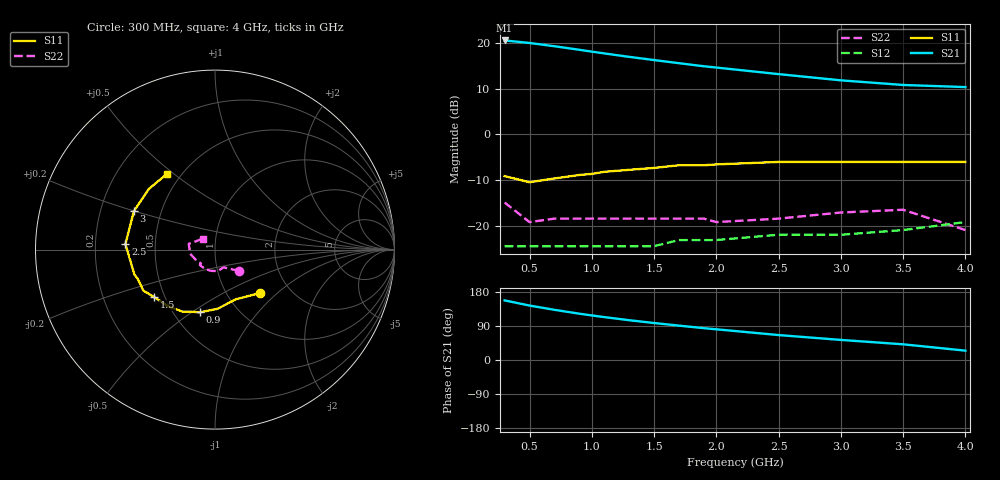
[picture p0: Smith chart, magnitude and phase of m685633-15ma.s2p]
!MGA-68563
!s-parameters at Vds=3V, Ids=15mA. Last updated 23/09/06 SW.
# GHZ S MA R 50
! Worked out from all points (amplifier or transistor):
!   15 points, 300 MHz to 4 GHz, reference 50 ohm
!   highest |S21| = 20.5 dB at 300 MHz (marker M1)
!   |S21| within 3 dB of that: start of sweep to 1.145 GHz
!   unconditionally stable (mu >= 1): start of sweep to end of sweep
!   at 700 MHz: K = 1.05, MAG = 20.5 dB, |S12| = -24.4 dB
!   at 1.5 GHz: K = 1.17, MAG = 17.8 dB, |S12| = -24.4 dB
!   at 4 GHz: K = 1.23, MAG = 11.9 dB, |S12| = -19.2 dB
!   lowest NFmin = 0.55 dB at 1 GHz
!   S11 on the Smith chart (normalised r, x): 300 MHz: 1.43, -0.78; 900 MHz: 0.67, -0.54; 1.5 GHz: 0.44, -0.28; 2.5 GHz: 0.33, +0.03; 3 GHz: 0.35, +0.20; 4 GHz: 0.42, +0.48
0.3  0.35 -43.6  10.64 157.3  0.06 5.0  0.18 -41.3
0.5  0.3 -67.4  9.99 143.7  0.06 3.9  0.11 -64.3
0.7  0.33 -87.4  9.2 132.4  0.06 4.4  0.12 -82.8
0.9  0.36 -103.8  8.41 122.2  0.06 5.3  0.12 -96.8
1  0.37 -110.9  8.03 117.6  0.06 5.6  0.12 -103.5
1.1  0.39 -117.6  7.68 113.2  0.06 6.1  0.12 -107.5
1.3  0.41 -129.9  7.04 105.0  0.06 7.1  0.12 -116.5
1.5  0.43 -142.1  6.5 97.6  0.06 7.9  0.12 -116.3
1.7  0.46 -150.2  6 90.7  0.07 8.6  0.12 -127.3
1.9  0.46 -159.1  5.56 84.0  0.07 9.1  0.12 -134.7
2  0.47 -162.9  5.38 81.0  0.07 9.3  0.11 -135.3
2.5  0.5 176.5  4.56 65.8  0.08 8.7  0.12 -149.8
3  0.5 154.7  3.9 53.0  0.08 7.9  0.14 -170.3
3.5  0.5 137.5  3.47 41.4  0.09 5.9  0.15 167.5
4  0.5 122.1  3.29 24.7  0.11 -3.9  0.09 137.5
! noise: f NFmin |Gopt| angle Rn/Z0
0.5  0.65  0.1  119.9  0.09
1  0.55  0.06  158.2  0.07
1.5  0.59  0.13  163  0.07
2  0.81  0.21  160.6  0.06
2.5  0.99  0.22  172  0.06
3  1.17  0.25  -163.7  0.09
